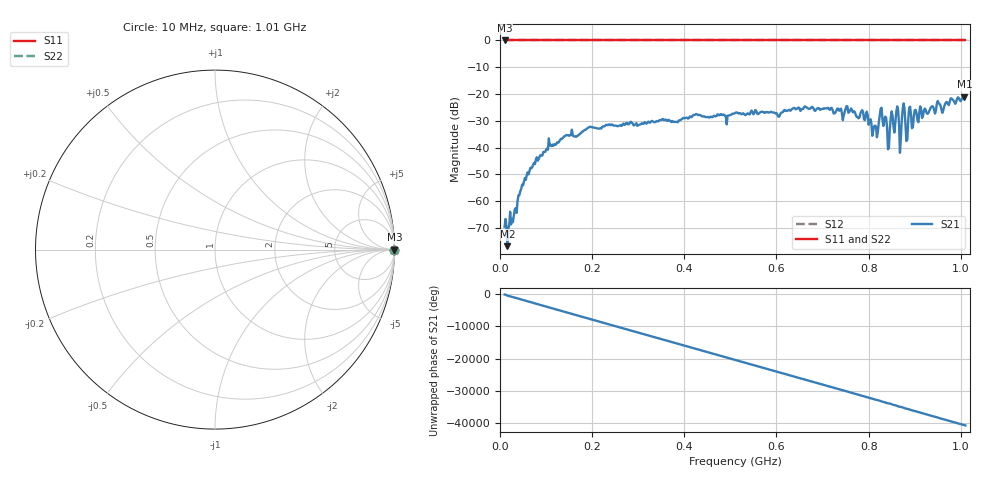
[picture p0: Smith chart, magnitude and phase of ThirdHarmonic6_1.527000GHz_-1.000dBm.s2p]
! 8/16/2025 6:03:30 PM
! C:\ANRITSUVNA\TEMP\TEMP.S2P
! CHANNEL.1
! TR.MEASUREMENT
! RAW.DATA
! RF.CORRECTION.OFF
! AVERAGING.OFF
! IF.BANDWIDTH: 5KHZ
! SWEEPTYPE:  FREQ.SWEEP(Linear)
! Reference Plane Port Info
! PORT:  PORT1  PORT2
! DISTANCE:  0  m  0  m
! TIME:  0  s  0  s
! PHASE.OFFSET:  0  deg.  0  deg.
! LOSS:  0  dB  0  dB
! REF.LOSS:  0  dB  0  dB
! REF.FREQ:  0  Hz  0  Hz
! Power Info
! POWER:  -20  dBm  -20  dBm
! EFF.POWER:  -20  dBm  -20  dBm
! SOURCE.ATTEN:  0  dB  0  dB
! TEST.ATTEN:  0  dB  0  dB
# GHZ S RI R 50.0
! FREQ.GHZ  S11RE  S11IM  S21RE  S21IM  S12RE  S12IM  S22RE  S22IM
!; PortSelection: Port_12
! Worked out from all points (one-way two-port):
!   501 points, 10 MHz to 1.01 GHz, reference 50 ohm
!   highest |S21| = -21.00 dB at 1.008 GHz (marker M1); lowest = -76.8 dB at 16 MHz (marker M2)
!   lowest |S11| = 0.0 dB at 10 MHz (marker M3)
!   |S11| at or under -10 dB: nowhere
!   |S22| runs from 0.0 to 0.0 dB; largest |S21 - S12| = 1.1
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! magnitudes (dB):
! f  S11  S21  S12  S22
! 10 MHz  0.0  -69.5  0.0  0.0
! 16 MHz  0.0  -76.8  0.0  0.0
! 32 MHz  0.0  -63.1  0.0  0.0
! 50 MHz  0.0  -54.1  0.0  0.0
! 76 MHz  0.0  -46.2  0.0  0.0
! 110 MHz  0.0  -38.9  0.0  0.0
! 178 MHz  0.0  -34.0  0.0  0.0
! 344 MHz  0.0  -30.1  0.0  0.0
! 510 MHz  0.0  -27.1  0.0  0.0
! 678 MHz  0.0  -24.8  0.0  0.0
! 784 MHz  0.0  -26.5  0.0  0.0
! 816 MHz  0.0  -32.1  0.0  0.0
! 826 MHz  0.0  -25.6  0.0  0.0
! 844 MHz  0.0  -40.1  0.0  0.0
! 850 MHz  0.0  -26.5  0.0  0.0
! 862 MHz  0.0  -24.6  0.0  0.0
! 870 MHz  0.0  -36.3  0.0  0.0
! 876 MHz  0.0  -23.5  0.0  0.0
! 882 MHz  0.0  -37.6  0.0  0.0
! 890 MHz  0.0  -24.7  0.0  0.0
! 1.008 GHz  0.0  -21.0  0.0  0.0
! 1.01 GHz  0.0  -21.1  0.0  0.0
